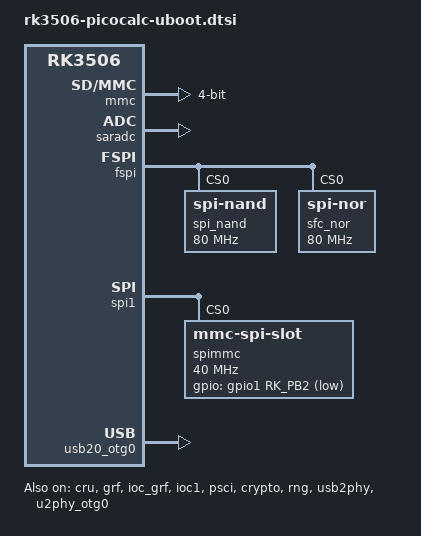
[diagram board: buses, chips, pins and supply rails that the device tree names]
/*
 * (C) Copyright 2024 Rockchip Electronics Co., Ltd
 *
 * SPDX-License-Identifier:     GPL-2.0+
 */

/ {
	aliases {
		mmc0 = &mmc;
		mmc1 = "/spi@ff130000/spimmc@0";
	};

	chosen: chosen {
		stdout-path = &uart0;
		u-boot,spl-boot-order =&mmc, &spi_nand, &spi_nor;
	};
};

&mmc {
	bus-width = <4>;
	u-boot,dm-spl;
	status = "okay";
};

&cru {
	u-boot,dm-spl;
	status = "okay";
};

&grf {
	u-boot,dm-spl;
	status = "okay";
};

&ioc_grf {
	u-boot,dm-spl;
	status = "okay";
};

&pinctrl {
	u-boot,dm-spl;
	status = "okay";
};

&ioc1 {
	u-boot,dm-spl;
	status = "okay";
};

&grf_pmu {
	u-boot,dm-spl;
	status = "okay";
};

&ioc_pmu {
	u-boot,dm-spl;
	status = "okay";
};

&gpio0 {
	u-boot,dm-spl;
	status = "okay";
};

&gpio1 {
	u-boot,dm-pre-reloc;
	status = "okay";
};

&gpio2 {
	u-boot,dm-pre-reloc;
	status = "okay";
};

&gpio3 {
	u-boot,dm-spl;
	status = "okay";
};

&gpio4 {
	u-boot,dm-pre-reloc;
	status = "okay";
};

&psci {
	u-boot,dm-pre-reloc;
	status = "okay";
};

&crypto {
	u-boot,dm-spl;
	status = "okay";
};

&rng {
	u-boot,dm-spl;
	status = "okay";
};

&saradc {
	u-boot,dm-spl;
	status = "okay";
};

&fspi {
	u-boot,dm-spl;
	status = "okay";

	#address-cells = <1>;
	#size-cells = <0>;
	spi_nand: flash@0 {
		u-boot,dm-spl;
		compatible = "spi-nand";
		reg = <0>;
		spi-tx-bus-width = <1>;
		spi-rx-bus-width = <4>;
		spi-max-frequency = <80000000>;
	};

	spi_nor: flash@1 {
		u-boot,dm-spl;
		compatible = "jedec,spi-nor";
		label = "sfc_nor";
		reg = <0>;
		spi-tx-bus-width = <1>;
		spi-rx-bus-width = <4>;
		spi-max-frequency = <80000000>;
	};
};

&spi1 {
	status = "okay";
	pinctrl-names = "default";
	pinctrl-0 = <&rm_io29_spi1_clk &rm_io28_spi1_mosi &rm_io31_spi1_miso &rm_io30_spi1_csn0>;

	spimmc: spimmc@0 {
		status = "okay";
		pinctrl-names = "default";
		pinctrl-0 = <&spimmc_det>;
		compatible = "mmc-spi-slot";
		reg = <0x00>;
		gpios = <&gpio1 RK_PB2 GPIO_ACTIVE_LOW>; // Card Detect
		spi-max-frequency = <0x2625a00>;
		voltage-ranges = <0xce4 0xce4>;
	};
};

&usb2phy {
	u-boot,dm-pre-reloc;
	status = "okay";
};

&u2phy_otg0 {
	u-boot,dm-pre-reloc;
	status = "okay";
};

&usb20_otg0 {
	u-boot,dm-pre-reloc;
	status = "okay";
};

&pinctrl {

	spimmc {
		spimmc_det: spimmc-det {
			rockchip,pins =
			<1 RK_PB2 RK_FUNC_GPIO &pcfg_pull_none>;
		};
	};
};
